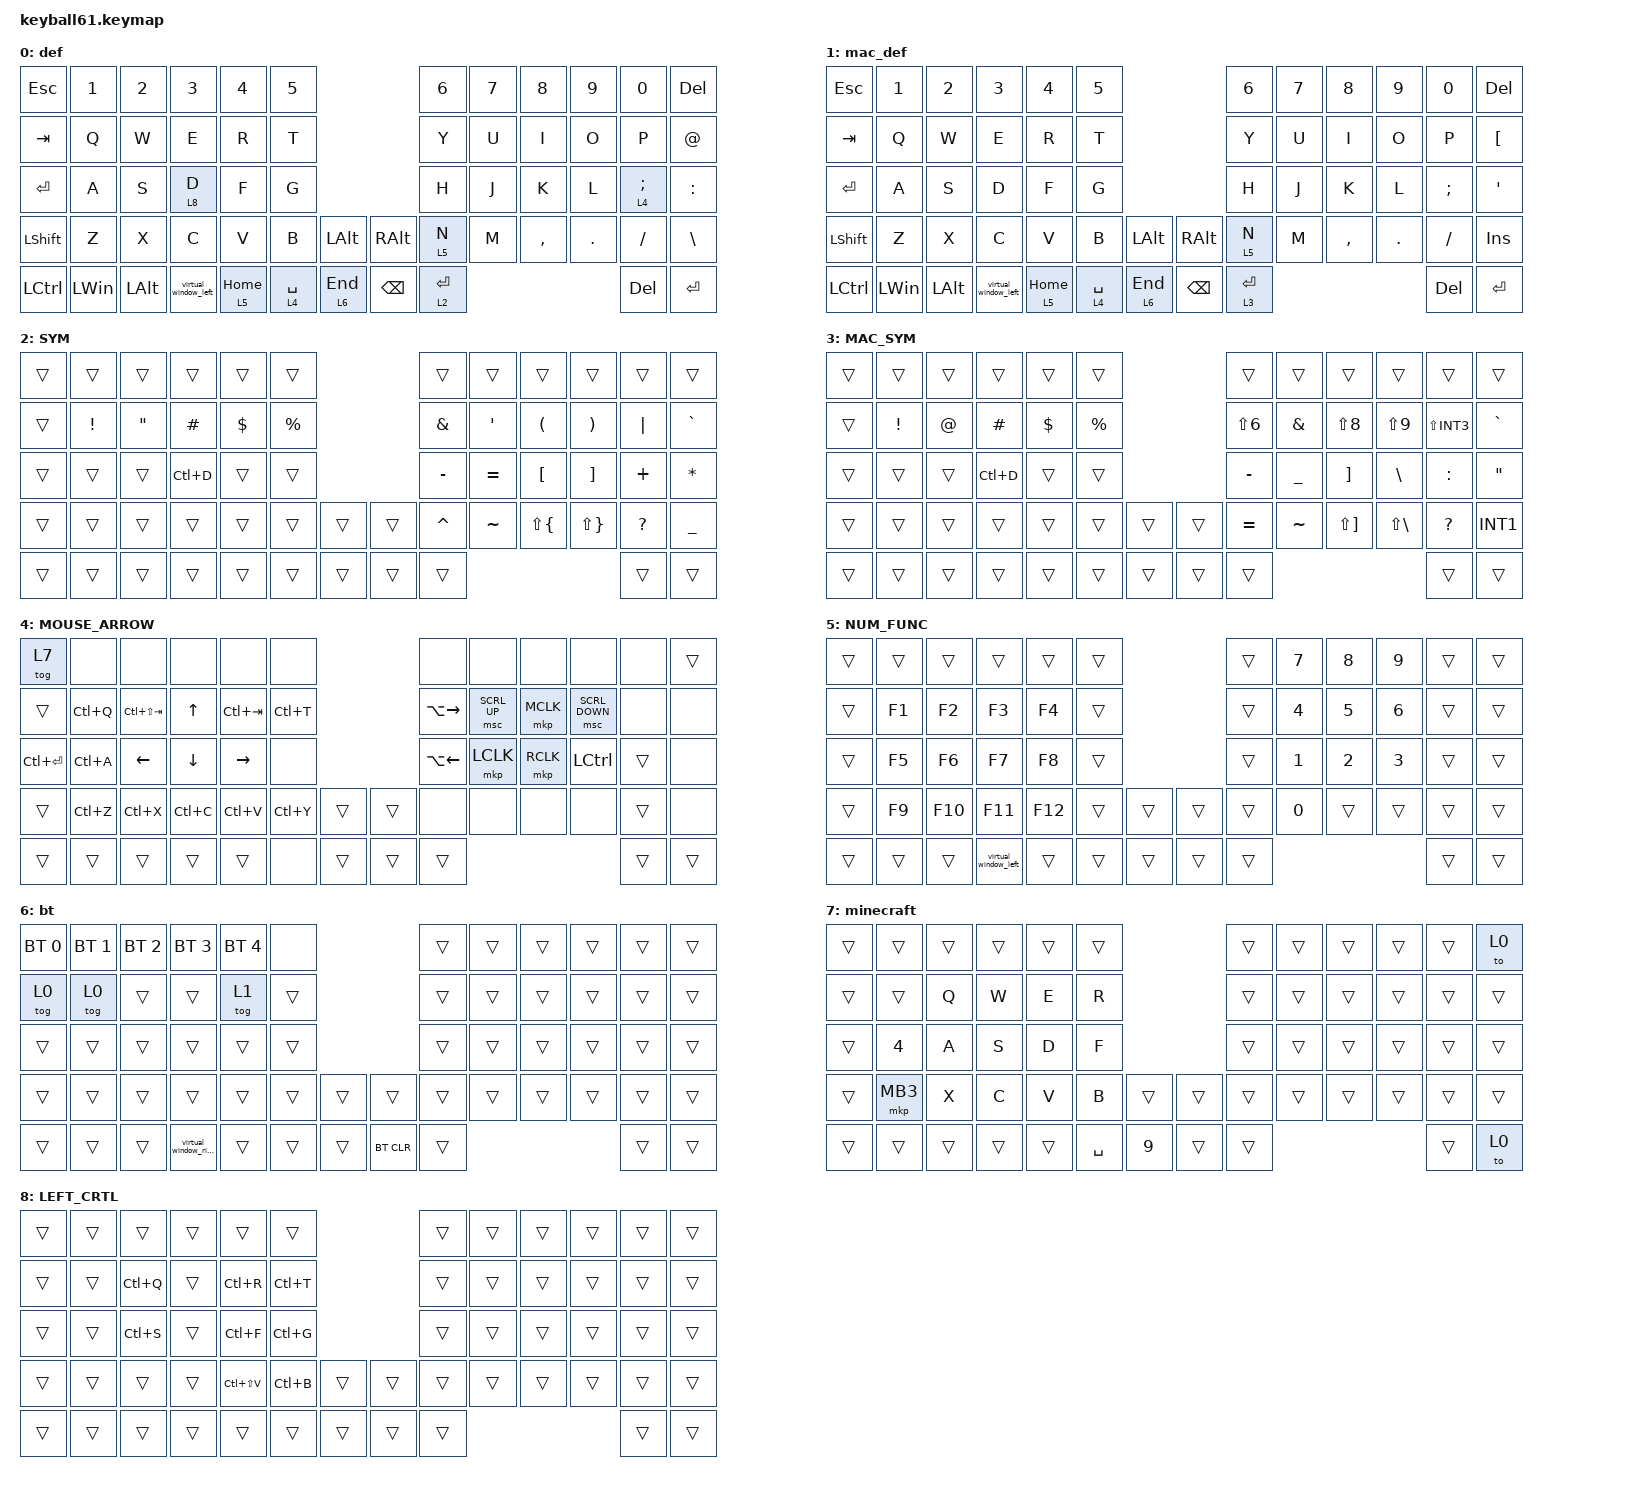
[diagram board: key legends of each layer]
#define DEFAULT 0
#define SYM     1
#define FUN     2
#define MOUSE   3
#define SCROLL  4
#define SNIPE   5

#include <behaviors/mouse_keys.dtsi>
#include <dt-bindings/zmk/mouse.h>
#include <behaviors.dtsi>
#include <dt-bindings/zmk/bt.h>
#include <dt-bindings/zmk/keys.h>
#include <dt-bindings/zmk/pointing.h>

&lt {
    tapping-term-ms = <200>;
    flavor = "tap-preferred";
    quick-tap-ms = <150>;
};

&mt {
    tapping-term-ms = <200>;
    flavor = "tap-preferred";
    quick-tap-ms = <150>;
};

/ {
    combos { compatible = "zmk,combos"; };

    macros {
        virtual_window_right: virtual_window_right {
            compatible = "zmk,behavior-macro";
            #binding-cells = <0>;
            bindings = <&sk LC(LEFT_WIN) &kp RIGHT_ARROW>;
            label = "VIRTUAL_WINDOW_RIGHT";
        };

        virtual_window_left: virtual_window_left {
            compatible = "zmk,behavior-macro";
            #binding-cells = <0>;
            bindings = <&sk LC(LEFT_WIN) &kp LEFT>;
            label = "VIRTUAL_WINDOW_LEFT";
        };
    };

    keymap {
        compatible = "zmk,keymap";

        default_layer {
            label = "def";
            bindings = <
&kp ESC    &kp N1        &kp N2        &kp N3                &kp N4      &kp N5                                    &kp N6       &kp N7  &kp N8     &kp N9   &kp N0           &kp DEL
&kp TAB    &kp Q         &kp W         &kp E                 &kp R       &kp T                                     &kp Y        &kp U   &kp I      &kp O    &kp P            &kp AT_SIGN
&kp RET    &kp A         &kp S         &lt 8 D               &kp F       &kp G                                     &kp H        &kp J   &kp K      &kp L    &lt 4 SEMICOLON  &kp COLON
&kp LSHFT  &kp Z         &kp X         &kp C                 &kp V       &kp B        &kp LEFT_ALT  &kp RIGHT_ALT  &lt 5 N      &kp M   &kp COMMA  &kp DOT  &kp FSLH         &kp BACKSLASH
&kp LCTRL  &kp LEFT_WIN  &kp LEFT_ALT  &virtual_window_left  &lt 5 HOME  &lt 4 SPACE  &lt 6 END     &kp BACKSPACE  &lt 2 ENTER                              &kp DEL          &kp RET
            >;
        };

        mac_default_layer {
            label = "mac_def";
            bindings = <
&kp ESC           &kp N1        &kp N2        &kp N3                &kp N4      &kp N5                                    &kp N6       &kp N7  &kp N8     &kp N9   &kp N0    &kp DEL
&kp TAB           &kp Q         &kp W         &kp E                 &kp R       &kp T                                     &kp Y        &kp U   &kp I      &kp O    &kp P     &kp LEFT_BRACKET
&kp RET           &kp A         &kp S         &kp D                 &kp F       &kp G                                     &kp H        &kp J   &kp K      &kp L    &kp SEMI  &kp SINGLE_QUOTE
&kp LSHFT         &kp Z         &kp X         &kp C                 &kp V       &kp B        &kp LEFT_ALT  &kp RIGHT_ALT  &lt 5 N      &kp M   &kp COMMA  &kp DOT  &kp FSLH  &kp INSERT
&kp LEFT_CONTROL  &kp LEFT_WIN  &kp LEFT_ALT  &virtual_window_left  &lt 5 HOME  &lt 4 SPACE  &lt 6 END     &kp BACKSPACE  &lt 3 ENTER                              &kp DEL   &kp RET
            >;
        };

        symbol_layer {
            label = "SYM";
            bindings = <
&trans  &trans           &trans             &trans     &trans      &trans                       &trans         &trans     &trans                &trans                 &trans        &trans
&trans  &kp EXCLAMATION  &kp DOUBLE_QUOTES  &kp HASH   &kp DOLLAR  &kp PERCENT                  &kp AMPERSAND  &kp SQT    &kp LEFT_PARENTHESIS  &kp RIGHT_PARENTHESIS  &kp PIPE      &kp GRAVE
&trans  &trans           &trans             &kp LC(D)  &trans      &trans                       &kp MINUS      &kp EQUAL  &kp LEFT_BRACKET      &kp RIGHT_BRACKET      &kp PLUS      &kp ASTRK
&trans  &trans           &trans             &trans     &trans      &trans       &trans  &trans  &kp CARET      &kp TILDE  &kp LS(LBRC)          &kp LS(RBRC)           &kp QUESTION  &kp UNDER
&trans  &trans           &trans             &trans     &trans      &trans       &trans  &trans  &trans                                                                 &trans        &trans
            >;
        };

        mac_symbol_layer {
            label = "MAC_SYM";
            bindings = <
&trans  &trans           &trans       &trans     &trans      &trans                       &trans      &trans         &trans                 &trans             &trans        &trans
&trans  &kp EXCLAMATION  &kp AT_SIGN  &kp HASH   &kp DOLLAR  &kp PERCENT                  &kp LS(N6)  &kp AMPERSAND  &kp LS(N8)             &kp LS(N9)         &kp LS(INT3)  &kp GRAVE
&trans  &trans           &trans       &kp LC(D)  &trans      &trans                       &kp MINUS   &kp UNDER      &kp RIGHT_BRACKET      &kp BACKSLASH      &kp COLON     &kp DOUBLE_QUOTES
&trans  &trans           &trans       &trans     &trans      &trans       &trans  &trans  &kp EQUAL   &kp TILDE      &kp LS(RIGHT_BRACKET)  &kp LS(BACKSLASH)  &kp QUESTION  &kp INT1
&trans  &trans           &trans       &trans     &trans      &trans       &trans  &trans  &trans                                                               &trans        &trans
            >;
        };

        mouse_arrow_layer {
            label = "MOUSE_ARROW";
            bindings = <
&tog 7         &none      &none            &none      &none        &none                      &none          &none         &none      &none           &none   &trans
&trans         &kp LC(Q)  &kp LC(LS(TAB))  &kp UP     &kp LC(TAB)  &kp LC(T)                  &kp LA(RIGHT)  &msc SCRL_UP  &mkp MCLK  &msc SCRL_DOWN  &none   &none
&kp LC(ENTER)  &kp LC(A)  &kp LEFT         &kp DOWN   &kp RIGHT    &none                      &kp LA(LEFT)   &mkp LCLK     &mkp RCLK  &kp LCTRL       &trans  &none
&trans         &kp LC(Z)  &kp LC(X)        &kp LC(C)  &kp LC(V)    &kp LC(Y)  &trans  &trans  &none          &none         &none      &none           &trans  &none
&trans         &trans     &trans           &trans     &trans       &none      &trans  &trans  &trans                                                  &trans  &trans
            >;
        };

        number_function_layer {
            bindings = <
&trans  &trans  &trans   &trans                &trans   &trans                  &trans  &kp N7  &kp N8  &kp N9  &trans  &trans
&trans  &kp F1  &kp F2   &kp F3                &kp F4   &trans                  &trans  &kp N4  &kp N5  &kp N6  &trans  &trans
&trans  &kp F5  &kp F6   &kp F7                &kp F8   &trans                  &trans  &kp N1  &kp N2  &kp N3  &trans  &trans
&trans  &kp F9  &kp F10  &kp F11               &kp F12  &trans  &trans  &trans  &trans  &kp N0  &trans  &trans  &trans  &trans
&trans  &trans  &trans   &virtual_window_left  &trans   &trans  &trans  &trans  &trans                          &trans  &trans
            >;

            label = "NUM_FUNC";
        };

        bt_layer {
            label = "bt";
            bindings = <
&bt BT_SEL 0  &bt BT_SEL 1  &bt BT_SEL 2  &bt BT_SEL 3           &bt BT_SEL 4  &none                       &trans  &trans  &trans  &trans  &trans  &trans
&tog 0        &tog 0        &trans        &trans                 &tog 1        &trans                      &trans  &trans  &trans  &trans  &trans  &trans
&trans        &trans        &trans        &trans                 &trans        &trans                      &trans  &trans  &trans  &trans  &trans  &trans
&trans        &trans        &trans        &trans                 &trans        &trans  &trans  &trans      &trans  &trans  &trans  &trans  &trans  &trans
&trans        &trans        &trans        &virtual_window_right  &trans        &trans  &trans  &bt BT_CLR  &trans                          &trans  &trans
            >;
        };

        minecraft {
            bindings = <
&trans  &trans    &trans  &trans  &trans  &trans                     &trans  &trans  &trans  &trans  &trans  &to 0
&trans  &trans    &kp Q   &kp W   &kp E   &kp R                      &trans  &trans  &trans  &trans  &trans  &trans
&trans  &kp N4    &kp A   &kp S   &kp D   &kp F                      &trans  &trans  &trans  &trans  &trans  &trans
&trans  &mkp MB3  &kp X   &kp C   &kp V   &kp B      &trans  &trans  &trans  &trans  &trans  &trans  &trans  &trans
&trans  &trans    &trans  &trans  &trans  &kp SPACE  &kp N9  &trans  &trans                          &trans  &to 0
            >;

            label = "minecraft";
        };

        lefthand_control {
            bindings = <
&trans  &trans  &trans     &trans  &trans         &trans                     &trans  &trans  &trans  &trans  &trans  &trans
&trans  &trans  &kp LC(Q)  &trans  &kp LC(R)      &kp LC(T)                  &trans  &trans  &trans  &trans  &trans  &trans
&trans  &trans  &kp LC(S)  &trans  &kp LC(F)      &kp LC(G)                  &trans  &trans  &trans  &trans  &trans  &trans
&trans  &trans  &trans     &trans  &kp LC(LS(V))  &kp LC(B)  &trans  &trans  &trans  &trans  &trans  &trans  &trans  &trans
&trans  &trans  &trans     &trans  &trans         &trans     &trans  &trans  &trans                          &trans  &trans
            >;

            label = "LEFT_CRTL";
        };
    };
};
